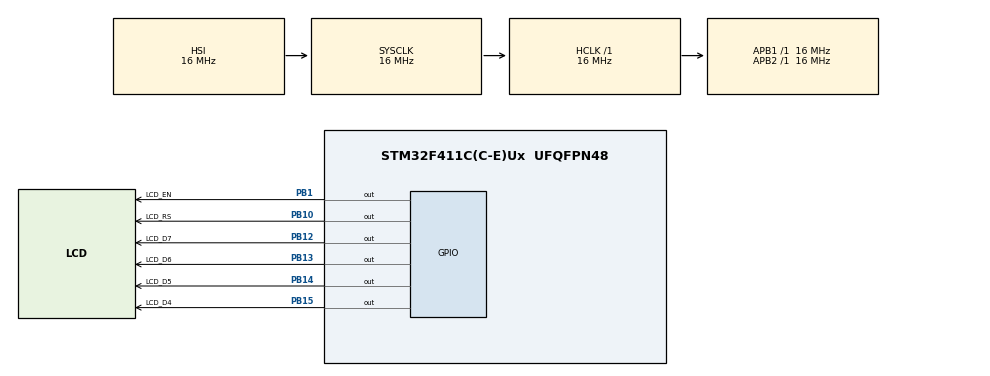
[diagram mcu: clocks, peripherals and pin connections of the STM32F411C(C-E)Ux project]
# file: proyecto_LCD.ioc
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Mcu.Family=STM32F4
Mcu.Name=STM32F411C(C-E)Ux
Mcu.Package=UFQFPN48
NVIC.PriorityGroup=NVIC_PRIORITYGROUP_4
PA13.Mode=Serial_Wire
PA13.Signal=SYS_JTMS-SWDIO
PA14.Mode=Serial_Wire
PA14.Signal=SYS_JTCK-SWCLK
PB1.GPIO_Label=LCD_EN
PB1.Signal=GPIO_Output
PB10.GPIO_Label=LCD_RS
PB10.Signal=GPIO_Output
PB12.GPIO_Label=LCD_D7
PB12.Signal=GPIO_Output
PB13.GPIO_Label=LCD_D6
PB13.Signal=GPIO_Output
PB14.GPIO_Label=LCD_D5
PB14.Signal=GPIO_Output
PB15.GPIO_Label=LCD_D4
PB15.Signal=GPIO_Output
ProjectManager.HeapSize=0x200
ProjectManager.StackSize=0x400
ProjectManager.TargetToolchain=STM32CubeIDE
RCC.AHBFreq_Value=16000000
RCC.APB1Freq_Value=16000000
RCC.APB2Freq_Value=16000000
RCC.CortexFreq_Value=16000000
RCC.HSE_VALUE=25000000
RCC.HSI_VALUE=16000000
RCC.LSE_VALUE=32768
RCC.SYSCLKFreq_VALUE=16000000
RCC.VCOOutputFreq_Value=192000000
board=custom

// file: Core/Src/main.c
/* USER CODE BEGIN Header */
/**
  ******************************************************************************
  * @file           : main.c
  * @brief          : Main program body
  ******************************************************************************
  * @attention
  *
  * Copyright (c) 2023 STMicroelectronics.
  * All rights reserved.
  *
  * This software is licensed under terms that can be found in the LICENSE file
  * in the root directory of this software component.
  * If no LICENSE file comes with this software, it is provided AS-IS.
  *
  ******************************************************************************
  */
/* USER CODE END Header */
#include "main.h"

/* USER CODE BEGIN Includes */
#include "lcd.h"
#include <stdio.h>
/* USER CODE END Includes */

/* USER CODE BEGIN PV */
LCD_t lcd;
uint16_t adcIn = 0;
char buffer[16];
/* USER CODE END PV */

void SystemClock_Config(void);
static void MX_GPIO_Init(void);

int main(void)
{

  /* MCU Configuration--------------------------------------------------------*/

  /* Reset of all peripherals, Initializes the Flash interface and the Systick. */
  HAL_Init();

  /* Configure the system clock */
  SystemClock_Config();

  /* Initialize all configured peripherals */
  MX_GPIO_Init();
  /* USER CODE BEGIN 2 */
  //--------------------------------LCD SETTINGS-------------------------------------
  lcd.RS_port = LCD_RS_GPIO_Port;
  lcd.RS_pin = LCD_RS_Pin;
  lcd.EN_port = LCD_EN_GPIO_Port;
  lcd.EN_pin = LCD_EN_Pin;
  lcd.D4_port = LCD_D4_GPIO_Port;
  lcd.D4_pin = LCD_D4_Pin;
  lcd.D5_port = LCD_D5_GPIO_Port;
  lcd.D5_pin = LCD_D5_Pin;
  lcd.D6_port = LCD_D6_GPIO_Port;
  lcd.D6_pin = LCD_D6_Pin;
  lcd.D7_port = LCD_D7_GPIO_Port;
  lcd.D7_pin = LCD_D7_Pin;

  //--------INICIALIZANDO EL LCD------------
  lcd_begin(&lcd, 16, 2, LCD_5x8DOTS);

  //--------PRUEBA--------
  //lcd_setCursor(&lcd, 0, 0);
  //lcd_print(&lcd, "Primer prueba");
  lcd_setCursor(&lcd, 0, 0);
  //lectura = "Lectura: %hu " + adcIn;
  //lcd_print(&lcd, lectura);
  //lcd_print(&lcd, "de funcionamiento");

  sprintf(buffer, "Mi variable: %u", adcIn);
  // Imprime el mensaje en la LCD
  lcd_print(&lcd, buffer);
  HAL_Delay(500);

  /* USER CODE END 2 */

  /* Infinite loop */
  while (1)
  {

  }
}

void SystemClock_Config(void)
{
  RCC_OscInitTypeDef RCC_OscInitStruct = {0};
  RCC_ClkInitTypeDef RCC_ClkInitStruct = {0};

  /** Configure the main internal regulator output voltage
  */
  __HAL_RCC_PWR_CLK_ENABLE();
  __HAL_PWR_VOLTAGESCALING_CONFIG(PWR_REGULATOR_VOLTAGE_SCALE1);

  /** Initializes the RCC Oscillators according to the specified parameters
  * in the RCC_OscInitTypeDef structure.
  */
  RCC_OscInitStruct.OscillatorType = RCC_OSCILLATORTYPE_HSI;
  RCC_OscInitStruct.HSIState = RCC_HSI_ON;
  RCC_OscInitStruct.HSICalibrationValue = RCC_HSICALIBRATION_DEFAULT;
  RCC_OscInitStruct.PLL.PLLState = RCC_PLL_NONE;
  if (HAL_RCC_OscConfig(&RCC_OscInitStruct) != HAL_OK)
  {
    Error_Handler();
  }

  /** Initializes the CPU, AHB and APB buses clocks
  */
  RCC_ClkInitStruct.ClockType = RCC_CLOCKTYPE_HCLK|RCC_CLOCKTYPE_SYSCLK
                              |RCC_CLOCKTYPE_PCLK1|RCC_CLOCKTYPE_PCLK2;
  RCC_ClkInitStruct.SYSCLKSource = RCC_SYSCLKSOURCE_HSI;
  RCC_ClkInitStruct.AHBCLKDivider = RCC_SYSCLK_DIV1;
  RCC_ClkInitStruct.APB1CLKDivider = RCC_HCLK_DIV1;
  RCC_ClkInitStruct.APB2CLKDivider = RCC_HCLK_DIV1;

  if (HAL_RCC_ClockConfig(&RCC_ClkInitStruct, FLASH_LATENCY_0) != HAL_OK)
  {
    Error_Handler();
  }
}

static void MX_GPIO_Init(void)
{
  GPIO_InitTypeDef GPIO_InitStruct = {0};

  /* GPIO Ports Clock Enable */
  __HAL_RCC_GPIOB_CLK_ENABLE();
  __HAL_RCC_GPIOA_CLK_ENABLE();

  /*Configure GPIO pin Output Level */
  HAL_GPIO_WritePin(GPIOB, LCD_EN_Pin|LCD_RS_Pin|LCD_D7_Pin|LCD_D6_Pin
                          |LCD_D5_Pin|LCD_D4_Pin, GPIO_PIN_RESET);

  /*Configure GPIO pins : LCD_EN_Pin LCD_RS_Pin LCD_D7_Pin LCD_D6_Pin
                           LCD_D5_Pin LCD_D4_Pin */
  GPIO_InitStruct.Pin = LCD_EN_Pin|LCD_RS_Pin|LCD_D7_Pin|LCD_D6_Pin
                          |LCD_D5_Pin|LCD_D4_Pin;
  GPIO_InitStruct.Mode = GPIO_MODE_OUTPUT_PP;
  GPIO_InitStruct.Pull = GPIO_NOPULL;
  GPIO_InitStruct.Speed = GPIO_SPEED_FREQ_LOW;
  HAL_GPIO_Init(GPIOB, &GPIO_InitStruct);

}

void Error_Handler(void)
{
  __disable_irq();
  while (1)
  {
  }
}
